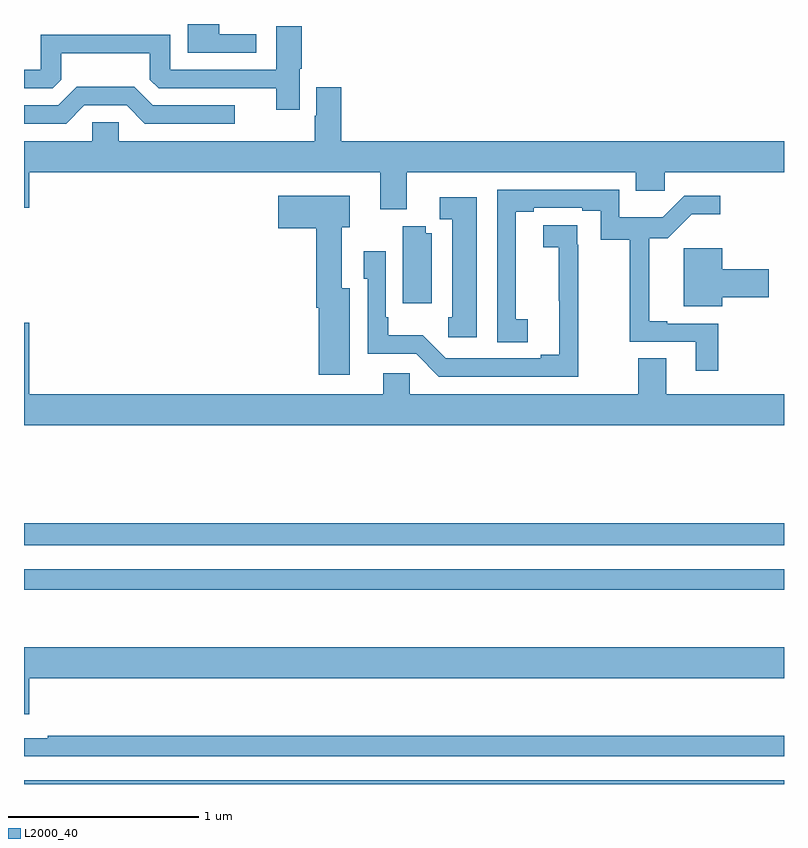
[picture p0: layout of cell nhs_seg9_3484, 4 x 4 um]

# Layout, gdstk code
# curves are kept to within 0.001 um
import gdstk
lib = gdstk.Library(unit=1e-6, precision=1e-09)
def R(c, l, rs):  # rectangles x0, y0, x1, y1
    for r in rs: c.add(gdstk.rectangle(r[:2], r[2:], *l))
def P(c, l, *ps):  # polygons
    for p in ps: c.add(gdstk.Polygon(p, *l))
L2000_40 = (2000, 40)

nhs_seg9_3484 = lib.new_cell('nhs_seg9_3484')
R(nhs_seg9_3484, L2000_40, [(309,1226.5,313,1226.52), (309,1227.522,313,1227.63), (309,1227.756,313,1227.872)])
P(nhs_seg9_3484, L2000_40, [(310.222,1230.445),(310.027,1230.445),(310.027,1230.5),(309.863,1230.5),(309.863,1230.348),(310.222,1230.348)],
  [(310.45,1230.265),(310.463,1230.265),(310.463,1230.487),(310.328,1230.487),(310.328,1230.258),(309.771,1230.258),(309.771,1230.444),(309.087,1230.444),(309.087,1230.258),(309,1230.258),(309,1230.162),(309.15,1230.162),(309.195,1230.207),(309.195,1230.347),(309.663,1230.347),(309.663,1230.207),(309.708,1230.162),(310.328,1230.162),(310.328,1230.048),(310.45,1230.048)],
  [(309.318,1230.072),(309.54,1230.072),(309.636,1229.976),(310.108,1229.976),(310.108,1230.072),(309.678,1230.072),(309.581,1230.17),(309.278,1230.17),(309.18,1230.072),(309,1230.072),(309,1229.976),(309.222,1229.976)],
  [(310.67,1230.166),(310.538,1230.166),(310.538,1230.017),(310.531,1230.017),(310.531,1229.884),(309.498,1229.884),(309.498,1229.982),(309.36,1229.982),(309.36,1229.884),(309,1229.884),(309,1229.532),(309.028,1229.532),(309.028,1229.72),(310.874,1229.72),(310.874,1229.526),(311.014,1229.526),(311.014,1229.72),(312.221,1229.72),(312.221,1229.622),(312.373,1229.622),(312.373,1229.72),(313,1229.72),(313,1229.884),(310.67,1229.884)],
  [(312.653,1228.923),(312.385,1228.923),(312.385,1228.936),(312.29,1228.936),(312.29,1229.373),(312.389,1229.373),(312.515,1229.498),(312.664,1229.498),(312.664,1229.595),(312.474,1229.595),(312.361,1229.482),(312.132,1229.482),(312.132,1229.628),(311.49,1229.628),(311.49,1228.825),(311.65,1228.825),(311.65,1228.945),(311.589,1228.945),(311.589,1229.249),(311.587,1229.249),(311.587,1229.512),(311.683,1229.512),(311.683,1229.532),(311.939,1229.532),(311.939,1229.518),(312.036,1229.518),(312.036,1229.365),(312.187,1229.365),(312.187,1228.827),(312.536,1228.827),(312.536,1228.674),(312.653,1228.674)],
  [(310.714,1229.11),(310.672,1229.11),(310.672,1229.431),(310.714,1229.431),(310.714,1229.596),(310.338,1229.596),(310.338,1229.426),(310.538,1229.426),(310.538,1229.006),(310.55,1229.006),(310.55,1228.653),(310.714,1228.653)],
  [(311.383,1229.587),(311.187,1229.587),(311.187,1229.472),(311.255,1229.472),(311.255,1228.956),(311.233,1228.956),(311.233,1228.851),(311.383,1228.851)],
  [(311.918,1229.339),(311.912,1229.339),(311.912,1229.441),(311.733,1229.441),(311.733,1229.326),(311.815,1229.326),(311.816,1228.76),(311.72,1228.76),(311.72,1228.74),(311.22,1228.74),(311.099,1228.861),(310.918,1228.861),(310.918,1228.957),(310.905,1228.957),(310.905,1229.305),(310.788,1229.305),(310.788,1229.16),(310.809,1229.16),(310.809,1228.764),(311.064,1228.764),(311.184,1228.644),(311.918,1228.644)],
  [(311.146,1229.398),(311.114,1229.398),(311.114,1229.435),(310.994,1229.435),(310.994,1229.031),(311.146,1229.031)],
  [(312.676,1229.063),(312.919,1229.063),(312.919,1229.21),(312.676,1229.21),(312.676,1229.32),(312.473,1229.32),(312.473,1229.015),(312.676,1229.015)],
  [(313,1228.552),(312.379,1228.552),(312.379,1228.742),(312.232,1228.742),(312.232,1228.552),(311.031,1228.552),(311.031,1228.662),(310.892,1228.662),(310.892,1228.552),(309.028,1228.552),(309.028,1228.927),(309,1228.927),(309,1228.388),(313,1228.388)],
  [(309.028,1227.056),(313,1227.056),(313,1227.22),(309,1227.22),(309,1226.868),(309.028,1226.868)],
  [(313,1226.755),(309.124,1226.755),(309.124,1226.742),(309,1226.742),(309,1226.646),(313,1226.646)])

lib.write_gds('nhs_seg9_3484.gds')
